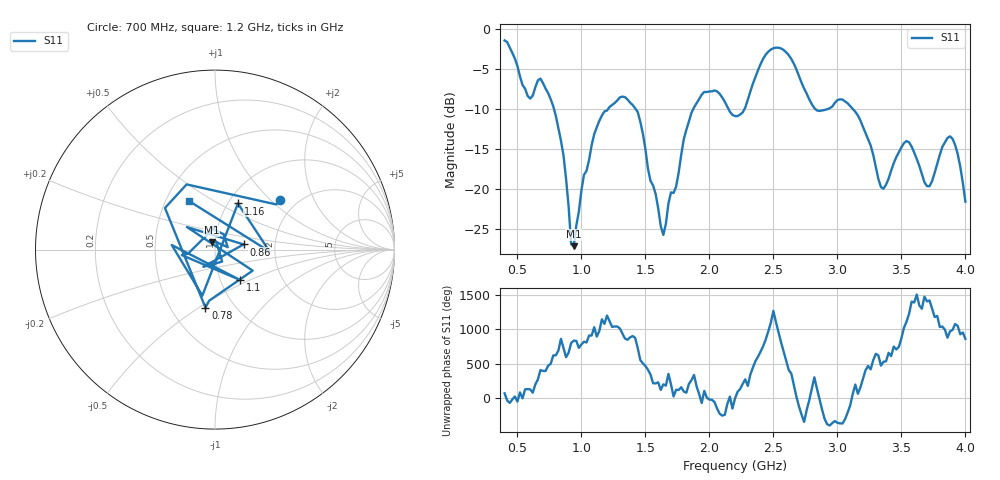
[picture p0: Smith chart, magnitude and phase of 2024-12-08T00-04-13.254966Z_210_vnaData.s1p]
!Created with skrf (http://scikit-rf.org).
# Hz S RI R 50.0
!freq ReS11 ImS11
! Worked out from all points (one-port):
!   181 points, 400 MHz to 4 GHz, reference 50 ohm
!   lowest |S11| = -27.1 dB at 940 MHz (marker M1), VSWR 1.09, Z = 48 + j3.83 ohm
!   |S11| at or under -10 dB: 785.3 MHz to 1.21 GHz (424.7 MHz wide, 42.6 % of centre); 1.422 GHz to 1.875 GHz (452.5 MHz wide, 27.4 % of centre); 3.119 GHz to end of sweep (the widest 3 of 5)
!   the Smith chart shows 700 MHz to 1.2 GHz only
!   S11 on the Smith chart (normalised r, x): 700 MHz: 1.65, +1.15; 780 MHz: 0.74, -0.53; 860 MHz: 1.38, +0.08; 1.1 GHz: 1.24, -0.44; 1.16 GHz: 1.11, +0.62; 1.2 GHz: 0.65, +0.39
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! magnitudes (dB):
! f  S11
! 400 MHz  -1.5
! 580 MHz  -8.4
! 700 MHz  -6.8
! 780 MHz  -9.7
! 860 MHz  -15.8
! 920 MHz  -26.9
! 940 MHz  -27.1
! 1.02 GHz  -18.2
! 1.1 GHz  -13.2
! 1.16 GHz  -10.8
! 1.2 GHz  -10.2
! 1.3 GHz  -8.6
! 1.44 GHz  -10.4
! 1.64 GHz  -25.7
! 1.76 GHz  -18.0
! 1.86 GHz  -10.5
! 1.96 GHz  -7.9
! 2.2 GHz  -10.9
! 2.46 GHz  -2.9
! 2.66 GHz  -4.4
! 2.84 GHz  -10.2
! 3.1 GHz  -9.7
! 3.36 GHz  -20.0
! 3.56 GHz  -14.2
! 3.72 GHz  -19.7
! 3.82 GHz  -14.7
! 3.9 GHz  -13.8
! 4 GHz  -21.6
